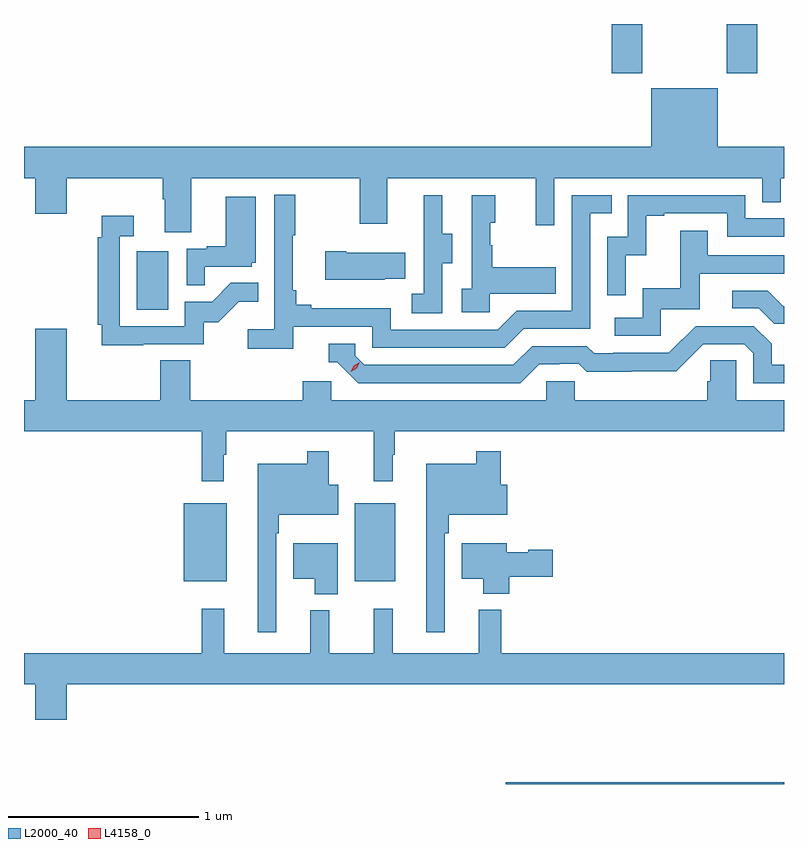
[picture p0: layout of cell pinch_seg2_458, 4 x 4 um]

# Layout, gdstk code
import gdstk
lib = gdstk.Library(unit=1e-6, precision=1e-09)
def R(c, l, rs):  # rectangles x0, y0, x1, y1
    for r in rs: c.add(gdstk.rectangle(r[:2], r[2:], *l))
def P(c, l, *ps):  # polygons
    for p in ps: c.add(gdstk.Polygon(p, *l))
L2000_40 = (2000, 40)
L4158_0 = (4158, 0)

pinch_seg2_458 = lib.new_cell('pinch_seg2_458')
R(pinch_seg2_458, L2000_40, [(910.739,595.163,912.204,595.172), (909.044,596.231,909.271,596.641), (909.944,596.231,910.159,596.641), (908.798,597.66,908.962,597.967), (911.297,598.905,911.457,599.163), (911.902,598.905,912.062,599.163)])
P(pinch_seg2_458, L2000_40, [(909.085,598.352),(909.97,598.352),(909.97,598.113),(910.117,598.113),(910.117,598.352),(910.898,598.352),(910.898,598.104),(910.995,598.104),(910.995,598.352),(912.09,598.352),(912.09,598.225),(912.186,598.225),(912.186,598.352),(912.204,598.352),(912.204,598.516),(911.854,598.516),(911.854,598.825),(911.504,598.825),(911.504,598.516),(908.204,598.516),(908.204,598.352),(908.264,598.352),(908.264,598.164),(908.428,598.164),(908.428,598.352),(908.933,598.352),(908.933,598.24),(908.945,598.24),(908.945,598.066),(909.085,598.066)],
  [(909.62,597.57),(910.038,597.57),(910.038,597.459),(910.735,597.459),(910.834,597.558),(911.184,597.558),(911.184,598.167),(911.297,598.167),(911.297,598.263),(911.088,598.263),(911.088,597.654),(910.797,597.654),(910.698,597.555),(910.134,597.555),(910.134,597.667),(909.715,597.667),(909.715,597.686),(909.638,597.686),(909.638,597.763),(909.619,597.763),(909.619,598.051),(909.631,598.051),(909.631,598.264),(909.522,598.264),(909.522,597.556),(909.381,597.556),(909.381,597.454),(909.62,597.454)],
  [(911.37,597.947),(911.48,597.947),(911.48,598.155),(911.575,598.155),(911.575,598.167),(911.904,598.167),(911.904,598.044),(912.204,598.044),(912.204,598.14),(912,598.14),(912,598.263),(911.382,598.263),(911.382,598.044),(911.274,598.044),(911.274,597.735),(911.37,597.735)],
  [(910.656,597.743),(911.003,597.743),(911.003,597.883),(910.669,597.883),(910.669,597.998),(910.659,597.998),(910.659,598.116),(910.684,598.116),(910.684,598.261),(910.56,598.261),(910.56,597.77),(910.509,597.77),(910.509,597.645),(910.656,597.645)],
  [(910.404,597.904),(910.459,597.904),(910.459,598.059),(910.405,598.059),(910.405,598.261),(910.307,598.261),(910.307,598.047),(910.308,598.047),(910.308,597.743),(910.245,597.743),(910.245,597.64),(910.404,597.64)],
  [(909.155,597.885),(909.402,597.885),(909.402,597.906),(909.424,597.906),(909.424,598.255),(909.266,598.255),(909.266,597.994),(909.167,597.994),(909.167,597.981),(909.06,597.981),(909.06,597.787),(909.155,597.787)],
  [(908.831,597.477),(909.15,597.477),(909.15,597.594),(909.226,597.594),(909.333,597.701),(909.437,597.701),(909.437,597.8),(909.293,597.8),(909.195,597.702),(909.051,597.702),(909.051,597.573),(908.709,597.573),(908.709,598.047),(908.782,598.047),(908.782,598.153),(908.612,598.153),(908.612,598.04),(908.593,598.04),(908.593,597.58),(908.612,597.58),(908.612,597.472),(908.831,597.472)],
  [(911.556,597.663),(911.761,597.663),(911.761,597.849),(912.204,597.849),(912.204,597.945),(911.803,597.945),(911.803,598.075),(911.659,598.075),(911.659,597.772),(911.46,597.772),(911.46,597.618),(911.313,597.618),(911.313,597.522),(911.556,597.522)],
  [(910.103,597.821),(910.211,597.821),(910.211,597.958),(909.901,597.958),(909.901,597.966),(909.789,597.966),(909.789,597.818),(910.103,597.818)],
  [(912.204,597.678),(912.199,597.678),(912.118,597.759),(911.931,597.759),(911.931,597.666),(912.072,597.666),(912.152,597.586),(912.204,597.586)],
  [(910.915,597.372),(911.022,597.372),(911.022,597.375),(911.125,597.375),(911.167,597.333),(911.4,597.333),(911.4,597.335),(911.636,597.335),(911.778,597.477),(911.994,597.477),(912.042,597.429),(912.042,597.273),(912.204,597.273),(912.204,597.369),(912.139,597.369),(912.139,597.479),(912.045,597.573),(911.739,597.573),(911.598,597.432),(911.305,597.432),(911.305,597.429),(911.206,597.429),(911.167,597.468),(910.878,597.468),(910.779,597.369),(909.996,597.369),(909.948,597.417),(909.948,597.48),(909.809,597.48),(909.809,597.384),(909.852,597.384),(909.963,597.273),(910.816,597.273)],
  [(912.204,597.184),(911.952,597.184),(911.952,597.392),(911.815,597.392),(911.815,597.282),(911.801,597.282),(911.801,597.184),(911.103,597.184),(911.103,597.282),(910.953,597.282),(910.953,597.184),(909.822,597.184),(909.822,597.282),(909.671,597.282),(909.671,597.184),(909.08,597.184),(909.08,597.392),(908.92,597.392),(908.92,597.184),(908.428,597.184),(908.428,597.559),(908.264,597.559),(908.264,597.184),(908.204,597.184),(908.204,597.02),(909.139,597.02),(909.139,596.757),(909.256,596.757),(909.256,596.897),(909.268,596.897),(909.268,597.02),(910.045,597.02),(910.045,596.757),(910.144,596.757),(910.144,596.897),(910.156,596.897),(910.156,597.02),(912.204,597.02)],
  [(910.419,596.483),(910.439,596.483),(910.439,596.579),(910.747,596.579),(910.747,596.737),(910.712,596.737),(910.712,596.914),(910.584,596.914),(910.584,596.848),(910.322,596.848),(910.322,595.962),(910.419,595.962)],
  [(909.531,596.483),(909.544,596.483),(909.544,596.579),(909.859,596.579),(909.859,596.737),(909.807,596.737),(909.807,596.914),(909.696,596.914),(909.696,596.848),(909.434,596.848),(909.434,595.962),(909.531,595.962)],
  [(909.856,596.431),(909.62,596.431),(909.62,596.243),(909.734,596.243),(909.734,596.162),(909.856,596.162)],
  [(910.757,596.254),(910.987,596.254),(910.987,596.396),(910.857,596.396),(910.857,596.383),(910.744,596.383),(910.744,596.431),(910.508,596.431),(910.508,596.243),(910.622,596.243),(910.622,596.165),(910.757,596.165)],
  [(908.428,595.688),(912.204,595.688),(912.204,595.852),(910.715,595.852),(910.715,596.08),(910.598,596.08),(910.598,595.852),(910.145,595.852),(910.145,596.086),(910.045,596.086),(910.045,595.852),(909.81,595.852),(909.81,596.077),(909.71,596.077),(909.71,595.852),(909.257,595.852),(909.257,596.086),(909.139,596.086),(909.139,595.852),(908.204,595.852),(908.204,595.688),(908.264,595.688),(908.264,595.5),(908.428,595.5)])
P(pinch_seg2_458, L4158_0, [(909.923,597.332),(909.923,597.333),(909.94,597.365),(909.97,597.384),(909.971,597.384),(909.971,597.384),(909.954,597.352),(909.924,597.332)])

lib.write_gds('pinch_seg2_458.gds')
